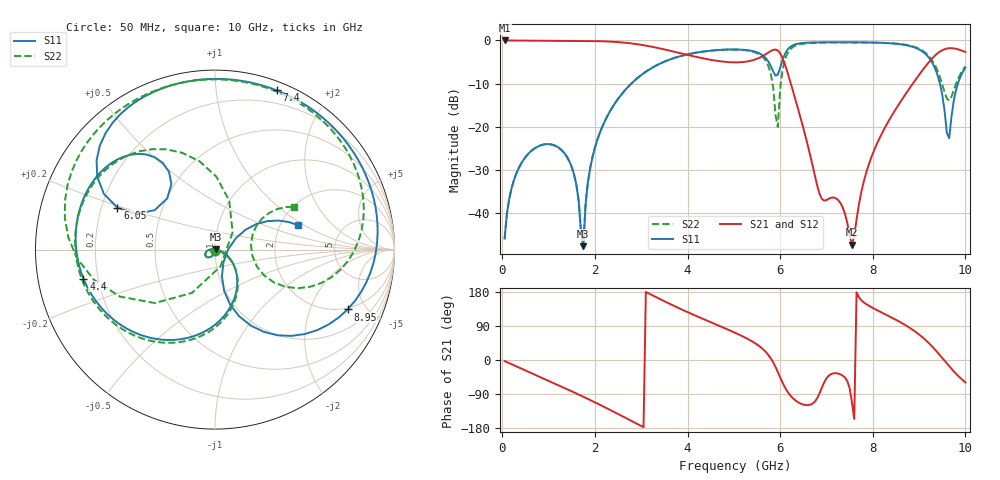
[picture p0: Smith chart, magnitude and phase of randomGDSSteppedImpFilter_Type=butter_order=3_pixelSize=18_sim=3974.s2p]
! freq	dB(S11)	phase(S11)	dB(S12)	phase(S12)
!  dB(S21)	phase(S21)	dB(S22)	phase(S22)
!S-par simulation data
#  GHz  S  DB  R 50
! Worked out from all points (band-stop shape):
!   200 points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, 50 MHz to 10 GHz, reference 50 ohm
!   highest |S21| = -0.01 dB at 50 MHz (marker M1); lowest = -47.3 dB at 7.55 GHz (marker M2)
!   |S21| within 3 dB of the highest: start of sweep to 3.864 GHz; 9.397 GHz to end of sweep (the widest 2 of 3)
!   lowest |S11| = -47.7 dB at 1.75 GHz (marker M3), VSWR 1.01, Z = 50.4 + j0.222 ohm
!   |S11| at or under -10 dB: start of sweep to 2.786 GHz; 9.45 GHz to 9.839 GHz (388.1 MHz wide, 4.02 % of centre)
!   |S22| runs from -47.1 to -0.5 dB; largest |S21 - S12| = 0
!   S11 on the Smith chart (normalised r, x): 50 MHz: 1.00, -0.01; 4.4 GHz: 0.14, -0.11; 6.05 GHz: 0.27, +0.19; 7.4 GHz: 0.08, +1.46; 8.95 GHz: 1.91, -3.71; 10 GHz: 2.50, +0.89
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0.05  -45.91 -89.5  -0.01 -2.8  -0.01 -2.8  -45.91 -89.4
0.35  -29.70 -109.5  -0.03 -19.2  -0.03 -19.2  -29.70 -108.7
1  -24.02 -146.9  -0.08 -54.8  -0.08 -54.8  -24.03 -144.0
1.5  -29.35 -177.5  -0.10 -82.6  -0.10 -82.6  -29.38 -169.2
1.75  -47.67 32.2  -0.12 -97.0  -0.12 -97.0  -47.11 -49.0
1.85  -32.80 -8.3  -0.13 -102.8  -0.13 -102.8  -32.72 -19.9
2.15  -20.24 -31.1  -0.19 -120.8  -0.19 -120.8  -20.22 -32.6
3.4  -5.40 -111.4  -1.84 161.0  -1.84 161.0  -5.39 -108.2
4.4  -2.49 -167.5  -4.29 105.0  -4.29 105.0  -2.49 -163.0
5.05  -2.09 159.4  -5.08 70.6  -5.08 70.6  -2.12 163.0
5.65  -3.69 125.9  -3.45 26.2  -3.45 26.2  -4.14 115.9
5.95  -7.93 146.7  -2.35 -31.6  -2.35 -31.6  -20.09 -72.4
6.05  -4.56 156.8  -4.04 -59.2  -4.04 -59.2  -6.97 -138.4
6.25  -1.27 137.9  -10.71 -97.8  -10.71 -97.8  -1.72 175.2
6.7  -0.47 105.5  -28.94 -115.1  -28.94 -115.1  -0.57 132.8
7.4  -0.43 68.8  -40.17 -46.5  -40.17 -46.5  -0.46 94.9
7.55  -0.44 61.1  -47.34 -111.8  -47.34 -111.8  -0.46 87.5
8.35  -0.64 17.8  -18.52 115.8  -18.52 115.8  -0.62 46.3
8.95  -1.83 -24.3  -8.71 72.0  -8.71 72.0  -1.69 7.5
9.4  -8.07 -70.1  -2.98 19.7  -2.98 19.7  -7.06 -27.9
9.65  -22.65 1.4  -1.80 -16.6  -1.80 -16.6  -13.91 6.6
10  -6.32 16.4  -2.68 -59.0  -2.68 -59.0  -6.02 28.5
